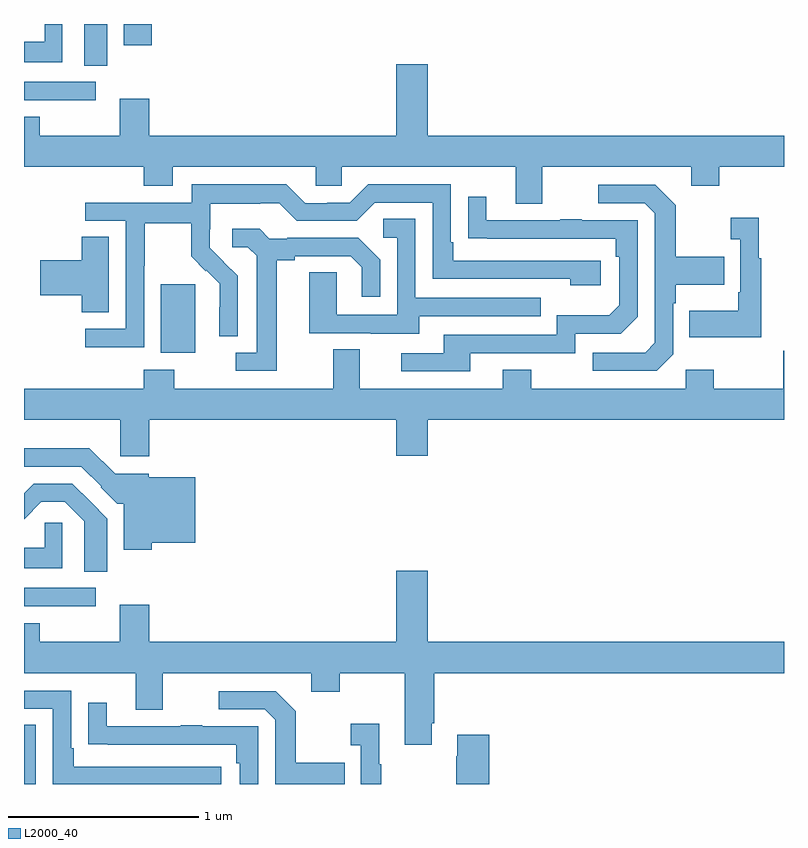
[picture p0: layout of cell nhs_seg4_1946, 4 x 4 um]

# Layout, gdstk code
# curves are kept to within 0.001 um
import gdstk
lib = gdstk.Library(unit=1e-6, precision=1e-09)
def R(c, l, rs):  # rectangles x0, y0, x1, y1
    for r in rs: c.add(gdstk.rectangle(r[:2], r[2:], *l))
def P(c, l, *ps):  # polygons
    for p in ps: c.add(gdstk.Polygon(p, *l))
L2000_40 = (2000, 40)

nhs_seg4_1946 = lib.new_cell('nhs_seg4_1946')
R(nhs_seg4_1946, L2000_40, [(211,798.9,211.062,799.211), (211,799.836,211.378,799.932), (211.721,801.17,211.9,801.531), (211,802.5,211.378,802.596), (211.317,802.681,211.438,802.9), (211.526,802.788,211.673,802.9)])
P(nhs_seg4_1946, L2000_40, [(211.202,802.9),(211.108,802.9),(211.108,802.807),(211,802.807),(211,802.7),(211.202,802.7)],
  [(213.727,802.148),(214.511,802.148),(214.511,802.049),(214.659,802.049),(214.659,802.148),(215,802.148),(215,802.312),(213.124,802.312),(213.124,802.687),(212.96,802.687),(212.96,802.312),(211.658,802.312),(211.658,802.507),(211.505,802.507),(211.505,802.312),(211.083,802.312),(211.083,802.411),(211,802.411),(211,802.148),(211.631,802.148),(211.631,802.049),(211.783,802.049),(211.783,802.148),(212.535,802.148),(212.535,802.05),(212.673,802.05),(212.673,802.148),(213.587,802.148),(213.587,801.954),(213.727,801.954)],
  [(211.632,801.628),(211.635,801.628),(211.635,801.852),(211.879,801.852),(211.879,801.677),(211.956,801.6),(211.959,801.603),(212.03,801.533),(212.03,801.41),(212.028,801.41),(212.028,801.256),(212.124,801.256),(212.124,801.574),(211.978,801.722),(211.978,801.819),(211.98,801.819),(211.98,801.953),(212.243,801.953),(212.243,801.957),(212.343,801.957),(212.436,801.864),(212.751,801.864),(212.847,801.96),(213.15,801.96),(213.15,801.558),(213.875,801.558),(213.875,801.524),(214.036,801.524),(214.036,801.654),(213.259,801.654),(213.259,801.751),(213.246,801.751),(213.246,802.056),(212.811,802.056),(212.715,801.96),(212.597,801.96),(212.597,801.957),(212.481,801.957),(212.381,802.057),(211.884,802.057),(211.884,801.96),(211.323,801.96),(211.323,801.864),(211.536,801.864),(211.536,801.297),(211.323,801.297),(211.323,801.199),(211.632,801.199)],
  [(214.416,801.162),(214.416,801.431),(214.429,801.431),(214.429,801.527),(214.685,801.527),(214.685,801.675),(214.429,801.675),(214.429,801.947),(214.323,802.053),(214.023,802.053),(214.023,801.957),(214.266,801.957),(214.32,801.903),(214.32,801.222),(214.269,801.171),(213.993,801.171),(213.993,801.075),(214.329,801.075)],
  [(213.349,801.168),(213.9,801.168),(213.9,801.27),(214.14,801.27),(214.23,801.36),(214.23,801.867),(213.935,801.867),(213.935,801.872),(213.823,801.872),(213.823,801.867),(213.433,801.867),(213.433,801.991),(213.337,801.991),(213.337,801.772),(214.114,801.771),(214.114,801.674),(214.134,801.674),(214.134,801.42),(214.081,801.367),(213.804,801.367),(213.804,801.264),(213.209,801.264),(213.209,801.168),(212.985,801.168),(212.985,801.072),(213.349,801.072)],
  [(214.879,801.667),(214.867,801.667),(214.867,801.88),(214.719,801.88),(214.719,801.767),(214.77,801.767),(214.77,801.487),(214.758,801.487),(214.758,801.391),(214.501,801.391),(214.501,801.251),(214.879,801.251)],
  [(213.079,801.363),(213.719,801.363),(213.719,801.459),(213.06,801.459),(213.06,801.875),(212.892,801.875),(212.892,801.774),(212.964,801.774),(212.964,801.369),(212.646,801.369),(212.646,801.593),(212.501,801.593),(212.501,801.273),(212.825,801.273),(212.825,801.269),(213.079,801.269)],
  [(212.329,801.656),(212.425,801.656),(212.425,801.678),(212.72,801.678),(212.777,801.621),(212.777,801.465),(212.874,801.465),(212.874,801.658),(212.758,801.774),(212.386,801.774),(212.386,801.771),(212.292,801.771),(212.24,801.823),(212.097,801.823),(212.097,801.726),(212.178,801.726),(212.225,801.679),(212.225,801.171),(212.115,801.171),(212.115,801.075),(212.329,801.075)],
  [(211.447,801.779),(211.304,801.779),(211.304,801.656),(211.086,801.656),(211.086,801.473),(211.304,801.473),(211.304,801.382),(211.447,801.382)],
  [(211.658,800.816),(212.96,800.816),(212.96,800.628),(213.124,800.628),(213.124,800.816),(215,800.816),(215,801.179),(214.996,801.179),(214.996,800.98),(214.629,800.98),(214.629,801.079),(214.482,801.079),(214.482,800.98),(213.669,800.98),(213.669,801.079),(213.521,801.079),(213.521,800.98),(212.767,800.98),(212.767,801.188),(212.627,801.188),(212.627,800.98),(211.791,800.98),(211.791,801.079),(211.631,801.079),(211.631,800.98),(211,800.98),(211,800.816),(211.507,800.816),(211.507,800.625),(211.658,800.625)],
  [(211.673,800.171),(211.9,800.171),(211.9,800.515),(211.656,800.515),(211.656,800.532),(211.479,800.532),(211.343,800.668),(211,800.668),(211,800.571),(211.302,800.571),(211.407,800.466),(211.404,800.463),(211.492,800.376),(211.526,800.376),(211.526,800.132),(211.673,800.132)],
  [(211.438,800.297),(211.35,800.385),(211.351,800.385),(211.255,800.481),(211.052,800.481),(211,800.429),(211,800.293),(211.092,800.385),(211.215,800.385),(211.317,800.284),(211.317,800.017),(211.438,800.017)],
  [(211.202,800.275),(211.108,800.275),(211.108,800.143),(211,800.143),(211,800.036),(211.202,800.036)],
  [(213.145,799.219),(213.158,799.219),(213.158,799.484),(215,799.484),(215,799.648),(213.124,799.648),(213.124,800.023),(212.96,800.023),(212.96,799.648),(211.658,799.648),(211.658,799.843),(211.505,799.843),(211.505,799.648),(211.083,799.648),(211.083,799.747),(211,799.747),(211,799.484),(211.589,799.484),(211.589,799.29),(211.729,799.29),(211.729,799.484),(212.513,799.484),(212.513,799.385),(212.661,799.385),(212.661,799.484),(213.005,799.484),(213.005,799.107),(213.145,799.107)],
  [(212.038,798.99),(211.261,798.99),(211.261,799.087),(211.248,799.087),(211.248,799.392),(211,799.392),(211,799.296),(211.152,799.296),(211.152,798.9),(212.038,798.9)],
  [(212.687,799.011),(212.431,799.011),(212.431,799.283),(212.325,799.389),(212.025,799.389),(212.025,799.293),(212.268,799.293),(212.322,799.239),(212.322,798.9),(212.687,798.9)],
  [(212.232,799.203),(211.937,799.203),(211.937,799.208),(211.825,799.208),(211.825,799.203),(211.435,799.203),(211.435,799.327),(211.339,799.327),(211.339,799.108),(211.441,799.108),(211.441,799.107),(212.116,799.107),(212.116,799.01),(212.136,799.01),(212.136,798.9),(212.232,798.9)],
  [(212.881,799.003),(212.869,799.003),(212.869,799.216),(212.721,799.216),(212.721,799.103),(212.772,799.103),(212.772,798.9),(212.881,798.9)],
  [(213.449,799.159),(213.281,799.159),(213.281,799.046),(213.274,799.046),(213.274,798.9),(213.449,798.9)])

lib.write_gds('nhs_seg4_1946.gds')
